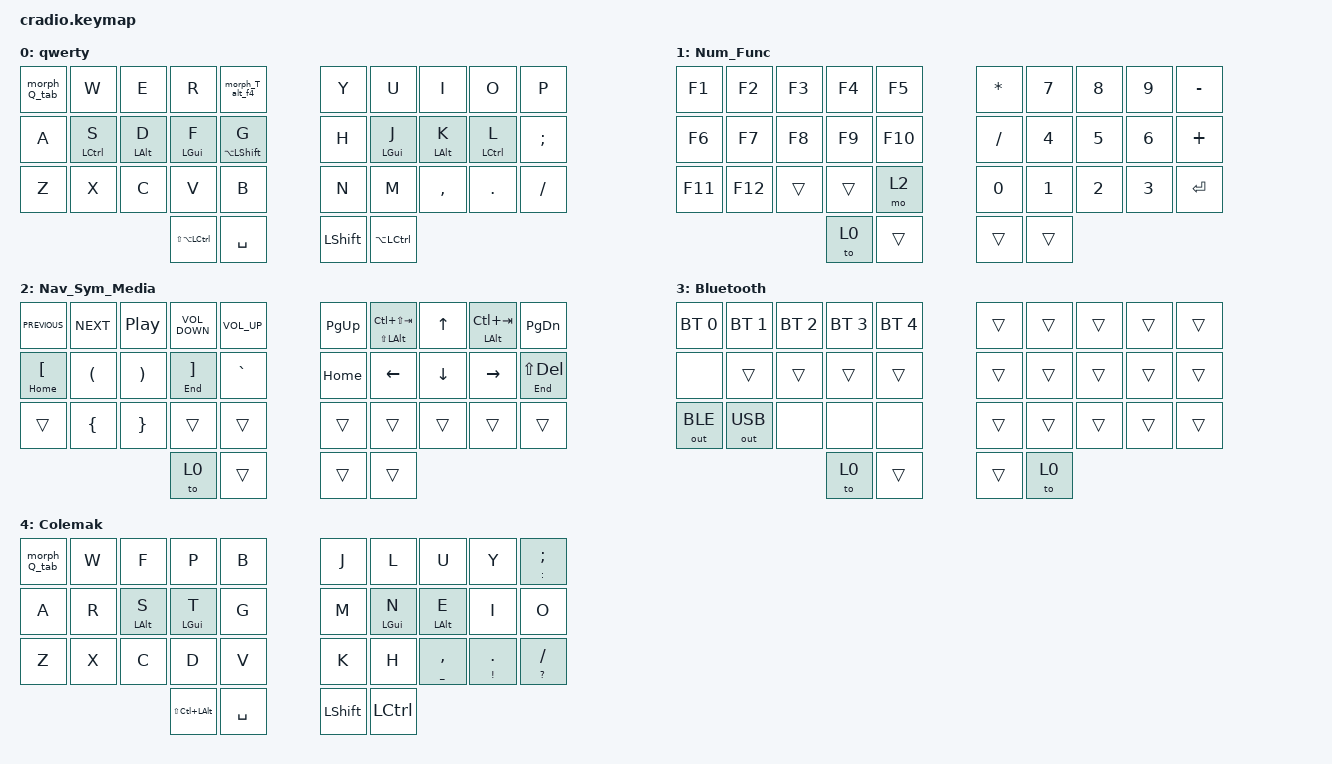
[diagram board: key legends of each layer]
/*
 * Copyright (c) 2020 The ZMK Contributors
 *
 * SPDX-License-Identifier: MIT
 */

#include <behaviors.dtsi>
#include <dt-bindings/zmk/bt.h>
#include <dt-bindings/zmk/keys.h>
#include <dt-bindings/zmk/mouse.h>
#include <dt-bindings/zmk/outputs.h>

&mt {
    flavor = "tap-preferred";
    quick-tap-ms = <150>;
    tapping-term-ms = <150>;
};

&sk {
};

/ {
    combos {
        compatible = "zmk,combos";

        combo_esc {
            timeout-ms = <50>;
            key-positions = <21 22>;
            bindings = <&kp ESC>;
        };

        combo_navigation {
            key-positions = <6 8>;
            bindings = <&mo 2>;
            layers = <0 4 1>;
        };

        combo_ent {
            timeout-ms = <50>;
            key-positions = <27 28>;
            bindings = <&kp RET>;
        };

        combo_question {
            timeout-ms = <50>;
            key-positions = <6 7>;
            bindings = <&kp QUESTION>;
        };

        combo_com {
            timeout-ms = <50>;
            key-positions = <3 2>;
            bindings = <&kp COMMA>;
        };

        combo_slsh {
            timeout-ms = <50>;
            key-positions = <18 19>;
            bindings = <&kp SLASH>;
        };

        combo_sqt {
            timeout-ms = <50>;
            key-positions = <12 13>;
            bindings = <&kp SQT>;
        };

        combo_dqt {
            timeout-ms = <50>;
            key-positions = <22 23>;
            bindings = <&kp DQT>;
        };

        combo_bslh {
            timeout-ms = <50>;
            key-positions = <16 17>;
            bindings = <&kp BSLH>;
        };

        combo_pipe {
            timeout-ms = <50>;
            key-positions = <26 27>;
            bindings = <&kp PIPE>;
        };

        backspace {
            bindings = <&kp BACKSPACE>;
            key-positions = <17 18>;
        };

        bt_layer {
            bindings = <&to 3>;
            key-positions = <0 9>;
            layers = <0>;
        };

        ctrlAltDel {
            bindings = <&kp LA(LC(DELETE))>;
            key-positions = <20 29>;
        };

        Colemak {
            bindings = <&to 4>;
            key-positions = <31 32>;
            layers = <0>;
            timeout-ms = <50>;
        };

        minus {
            bindings = <&kp KP_MINUS>;
            key-positions = <4 5>;
            layers = <0 2 1 4>;
        };

        equal {
            bindings = <&kp EQUAL>;
            key-positions = <14 15>;
        };

        underscore {
            bindings = <&kp UNDER>;
            key-positions = <24 25>;
        };

        word_caps {
            bindings = <&caps_word>;
            key-positions = <13 16>;
        };

        bt_clear {
            bindings = <&bt BT_CLR>;
            key-positions = <4 5>;
            layers = <3>;
        };

        tab {
            bindings = <&kp TAB>;
            key-positions = <2 1>;
        };

        combo_del {
            bindings = <&kp DEL>;
            key-positions = <7 8>;
        };

        Qwerty {
            bindings = <&to 0>;
            key-positions = <31 32>;
            layers = <4>;
        };

        combo_dot {
            bindings = <&kp PERIOD>;
            key-positions = <11 12>;
        };

        combo_numbers {
            bindings = <&mo 1>;
            key-positions = <16 18>;
        };

        combo_grave {
            bindings = <&kp GRAVE>;
            key-positions = <3 4>;
        };

        combo_left_clk {
            bindings = <&mkp LCLK>;
            key-positions = <13 14>;
            slow-release;
        };

        combo_right_clk {
            bindings = <&mkp RCLK>;
            key-positions = <24 23>;
        };

        combo_numbers2 {
            bindings = <&mo 1>;
            key-positions = <13 11>;
        };

        combo_nav {
            bindings = <&mo 2>;
            key-positions = <1 3>;
            layers = <0 4 1>;
        };
    };

    behaviors {
        ht: hold_tap {
            compatible = "zmk,behavior-hold-tap";
            label = "Hold_Tap";
            bindings = <&kp>, <&kp>;

            #binding-cells = <2>;
            tapping-term-ms = <200>;
            flavor = "tap-preferred";
        };

        morph_Q_tab: morph_Q_tab {
            compatible = "zmk,behavior-mod-morph";
            label = "MORPH_Q_TAB";
            bindings = <&kp Q>, <&kp TAB>;

            #binding-cells = <0>;
            mods = <(MOD_LALT)>;
        };

        morph_T_alt_f4: morph_T_alt_f4 {
            compatible = "zmk,behavior-mod-morph";
            label = "MORPH_T_ALT_F4";
            bindings = <&kp T>, <&kp LA(F4)>;

            #binding-cells = <0>;
            mods = <(MOD_LGUI)>;
        };

        t_layer_h_key: t_layer_h_key {
            compatible = "zmk,behavior-hold-tap";
            label = "T_LAYER_H_KEY";
            bindings = <&kp>, <&to>;

            #binding-cells = <2>;
            tapping-term-ms = <150>;
            flavor = "tap-preferred";
            quick-tap-ms = <100>;
        };

        td_semi_caps: td_semi_caps {
            compatible = "zmk,behavior-tap-dance";
            label = "TD_SEMI_CAPS";
            #binding-cells = <0>;
            bindings = <&kp SEMICOLON>, <&kp CAPSLOCK>;

            tapping-term-ms = <100>;
        };
    };

    keymap {
        compatible = "zmk,keymap";

        Qwerty {
            bindings = <
&morph_Q_tab  &kp W               &kp E           &kp R                     &morph_T_alt_f4         &kp Y           &kp U                 &kp I           &kp O               &kp P
&kp A         &ht LEFT_CONTROL S  &ht LEFT_ALT D  &ht LEFT_GUI F            &ht LA(LEFT_SHIFT) G    &kp H           &ht LEFT_GUI J        &ht LEFT_ALT K  &ht LEFT_CONTROL L  &kp SEMI
&kp Z         &kp X               &kp C           &kp V                     &kp B                   &kp N           &kp M                 &kp COMMA       &kp DOT             &kp FSLH
                                                  &kp LS(LA(LEFT_CONTROL))  &kp SPACE               &kp LEFT_SHIFT  &kp LA(LEFT_CONTROL)
            >;

            label = "qwerty";
        };

        Num_Func {
            bindings = <
&kp F1   &kp F2   &kp F3  &kp F4  &kp F5     &kp ASTRK     &kp N7  &kp N8  &kp N9  &kp MINUS
&kp F6   &kp F7   &kp F8  &kp F9  &kp F10    &kp SLASH     &kp N4  &kp N5  &kp N6  &kp PLUS
&kp F11  &kp F12  &trans  &trans  &mo 2      &kp NUMBER_0  &kp N1  &kp N2  &kp N3  &kp ENTER
                          &to 0   &trans     &trans        &trans
            >;

            label = "Num_Func";
        };

        Navigation_Sym_Media {
            bindings = <
&kp C_PREVIOUS         &kp C_NEXT            &kp C_PLAY_PAUSE       &kp C_VOLUME_DOWN      &kp C_VOLUME_UP    &kp PAGE_UP  &ht LS(LEFT_ALT) LC(LS(TAB))  &kp UP_ARROW  &ht LEFT_ALT LC(TAB)  &kp PAGE_DOWN
&ht HOME LEFT_BRACKET  &kp LEFT_PARENTHESIS  &kp RIGHT_PARENTHESIS  &ht END RIGHT_BRACKET  &kp GRAVE          &kp HOME     &kp LEFT_ARROW                &kp DOWN      &kp RIGHT             &ht END LS(DELETE)
&trans                 &kp LEFT_BRACE        &kp RIGHT_BRACE        &trans                 &trans             &trans       &trans                        &trans        &trans                &trans
                                                                    &to 0                  &trans             &trans       &trans
            >;

            label = "Nav_Sym_Media";
        };

        Bluetooth {
            bindings = <
&bt BT_SEL 0  &bt BT_SEL 1  &bt BT_SEL 2  &bt BT_SEL 3  &bt BT_SEL 4    &trans  &trans  &trans  &trans  &trans
&none         &trans        &trans        &trans        &trans          &trans  &trans  &trans  &trans  &trans
&out OUT_BLE  &out OUT_USB  &none         &none         &none           &trans  &trans  &trans  &trans  &trans
                                          &to 0         &trans          &trans  &to 0
            >;

            label = "Bluetooth";
        };

        Colemak {
            bindings = <
&morph_Q_tab  &kp W  &kp F           &kp P                 &kp B        &kp J           &kp L             &kp U                 &kp Y         &ht COLON SEMICOLON
&kp A         &kp R  &ht LEFT_ALT S  &ht LEFT_GUI T        &kp G        &kp M           &ht LEFT_GUI N    &ht LEFT_ALT E        &kp I         &kp O
&kp Z         &kp X  &kp C           &kp D                 &kp V        &kp K           &kp H             &ht UNDERSCORE COMMA  &ht EXCL DOT  &ht QUESTION SLASH
                                     &kp LS(LC(LEFT_ALT))  &kp SPACE    &kp LEFT_SHIFT  &kp LEFT_CONTROL
            >;

            label = "Colemak";
        };
    };
};
